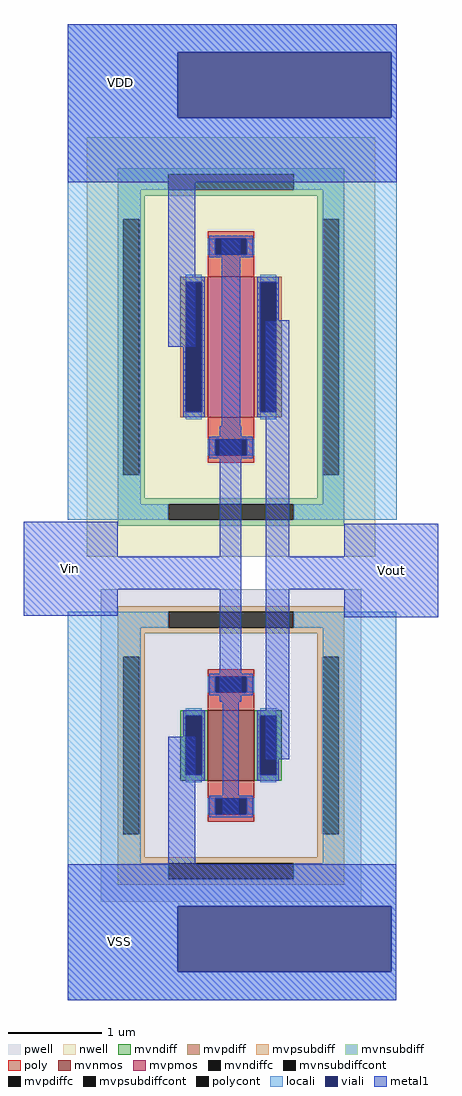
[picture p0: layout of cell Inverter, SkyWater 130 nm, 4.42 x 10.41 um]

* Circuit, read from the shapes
.subckt Inverter Vin VDD VSS Vout
XM1 Vout Vin VSS VSS sky130_fd_pr__nfet_g5v0d10v5 w=0.75 l=0.5
XM2 Vout Vin VDD VDD sky130_fd_pr__pfet_g5v0d10v5 w=1.5 l=0.5
.ends

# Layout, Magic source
magic
tech sky130B
magscale 1 2
<< locali >>
rect 990 1578 1692 1638
rect 990 1438 1224 1578
rect 1680 1438 1692 1578
rect 990 1286 1692 1438
rect 990 584 1146 1286
rect 1534 584 1692 1286
rect 990 580 1112 584
rect 1568 580 1692 584
rect 990 382 1108 384
rect 1568 382 1690 384
rect 990 -186 1146 382
rect 1534 -186 1690 382
rect 990 -244 1690 -186
rect 990 -384 1224 -244
rect 1680 -384 1690 -244
rect 990 -444 1690 -384
<< viali >>
rect 1224 1438 1680 1578
rect 1224 -384 1680 -244
<< metal1 >>
rect 990 1578 1692 1638
rect 990 1438 1224 1578
rect 1680 1438 1692 1578
rect 990 1300 1692 1438
rect 1204 950 1262 1300
rect 1318 780 1358 1178
rect 1438 1004 1462 1006
rect 896 502 1096 576
rect 1314 502 1360 780
rect 896 432 1360 502
rect 896 376 1096 432
rect 1314 192 1360 432
rect 1412 502 1462 1004
rect 1580 502 1780 572
rect 1412 432 1780 502
rect 1204 -154 1262 118
rect 1320 -48 1354 192
rect 1412 70 1462 432
rect 1580 372 1780 432
rect 990 -244 1690 -154
rect 990 -384 1224 -244
rect 1680 -384 1690 -244
rect 990 -444 1690 -384
use sky130_fd_pr__nfet_g5v0d10v5_6XHARQ  XM1 ~/Project/magic
transform 1 0 1338 0 1 99
box -278 -333 278 333
use sky130_fd_pr__pfet_g5v0d10v5_7EBZY6  XM2 ~/Project/magic
transform 1 0 1338 0 1 949
box -308 -447 308 447
<< labels >>
flabel metal1 1002 1414 1202 1614 0 FreeSans 256 0 0 0 VDD
port 1 nsew
flabel metal1 1000 -420 1200 -220 0 FreeSans 256 0 0 0 VSS
port 2 nsew
flabel metal1 896 376 1096 576 0 FreeSans 256 0 0 0 Vin
port 0 nsew
flabel metal1 1580 372 1780 572 0 FreeSans 256 0 0 0 Vout
port 3 nsew
<< end >>

# cell sky130_fd_pr__nfet_g5v0d10v5_6XHARQ: kit device sky130_fd_pr__nfet_g5v0d10v5, w 0.75 l 0.5 m 1 nf 1 diffcov 100 polycov 100 guard 1 glc 1 grc 1 gtc 1 gbc 1 tbcov 100 rlcov 100 topc 1 botc 1 poverlap 0 doverlap 1 lmin 0.50 wmin 0.42 compatible {sky130_fd_pr__nfet_01v8 sky130_fd_pr__nfet_01v8_lvt sky130_fd_bs_flash__special_sonosfet_star sky130_fd_pr__nfet_g5v0d10v5 sky130_fd_pr__nfet_05v0_nvt sky130_fd_pr__nfet_03v3_nvt} full_metal 1 viasrc 100 viadrn 100 viagate 100 viagb 0 viagr 0 viagl 0 viagt 0

# cell sky130_fd_pr__pfet_g5v0d10v5_7EBZY6: kit device sky130_fd_pr__pfet_g5v0d10v5, w 1.5 l 0.5 m 1 nf 1 diffcov 100 polycov 100 guard 1 glc 1 grc 1 gtc 1 gbc 1 tbcov 100 rlcov 100 topc 1 botc 1 poverlap 0 doverlap 1 lmin 0.50 wmin 0.42 compatible {sky130_fd_pr__pfet_01v8 sky130_fd_pr__pfet_01v8_lvt sky130_fd_pr__pfet_01v8_hvt sky130_fd_pr__pfet_g5v0d10v5} full_metal 1 viasrc 100 viadrn 100 viagate 100 viagb 0 viagr 0 viagl 0 viagt 0
